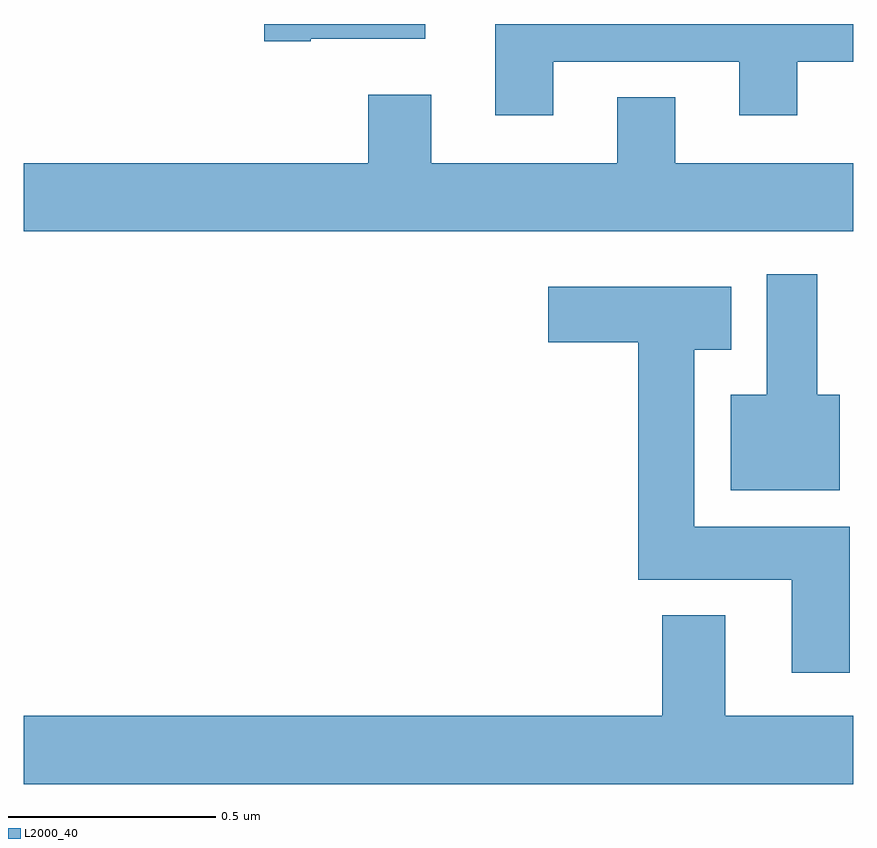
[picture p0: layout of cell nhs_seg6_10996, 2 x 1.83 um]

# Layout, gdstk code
import gdstk
lib = gdstk.Library(unit=1e-6, precision=1e-09)
def P(c, l, *ps):  # polygons
    for p in ps: c.add(gdstk.Polygon(p, *l))
L2000_40 = (2000, 40)

nhs_seg6_10996 = lib.new_cell('nhs_seg6_10996')
P(nhs_seg6_10996, L2000_40, [(255.277,950.409),(255.725,950.409),(255.725,950.28),(255.865,950.28),(255.865,950.409),(256,950.409),(256,950.5),(255.137,950.5),(255.137,950.28),(255.277,950.28)],
  [(254.692,950.465),(254.968,950.465),(254.968,950.5),(254.58,950.5),(254.58,950.458),(254.692,950.458)],
  [(256,950.164),(255.571,950.164),(255.571,950.324),(255.431,950.324),(255.431,950.164),(254.983,950.164),(254.983,950.329),(254.831,950.329),(254.831,950.164),(254,950.164),(254,950),(256,950)],
  [(255.967,949.606),(255.913,949.606),(255.913,949.897),(255.791,949.897),(255.791,949.606),(255.704,949.606),(255.704,949.376),(255.967,949.376)],
  [(255.991,949.288),(255.616,949.288),(255.616,949.715),(255.706,949.715),(255.706,949.867),(255.264,949.867),(255.264,949.733),(255.482,949.733),(255.482,949.16),(255.851,949.16),(255.851,948.936),(255.991,948.936)],
  [(256,948.832),(255.691,948.832),(255.691,949.075),(255.539,949.075),(255.539,948.832),(254,948.832),(254,948.668),(256,948.668)])

lib.write_gds('nhs_seg6_10996.gds')
